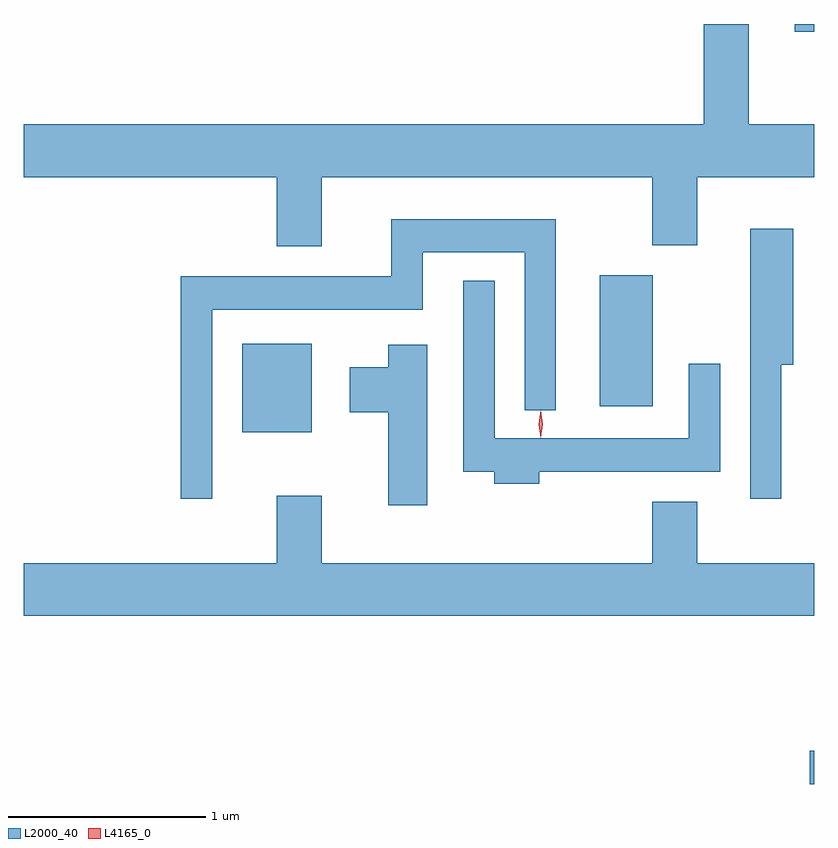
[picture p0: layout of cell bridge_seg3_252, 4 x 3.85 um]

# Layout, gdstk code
import gdstk
lib = gdstk.Library(unit=1e-6, precision=1e-09)
def R(c, l, rs):  # rectangles x0, y0, x1, y1
    for r in rs: c.add(gdstk.rectangle(r[:2], r[2:], *l))
def P(c, l, *ps):  # polygons
    for p in ps: c.add(gdstk.Polygon(p, *l))
L2000_40 = (2000, 40)
L4165_0 = (4165, 0)

bridge_seg3_252 = lib.new_cell('bridge_seg3_252')
R(bridge_seg3_252, L2000_40, [(933.008,1129.606,933.031,1129.774), (930.136,1131.386,930.489,1131.834), (931.946,1131.516,932.214,1132.179), (932.931,1133.411,933.031,1133.451)])
P(bridge_seg3_252, L2000_40, [(930.539,1132.676),(932.211,1132.676),(932.211,1132.331),(932.439,1132.331),(932.439,1132.676),(933.031,1132.676),(933.031,1132.944),(932.699,1132.944),(932.699,1133.451),(932.471,1133.451),(932.471,1132.944),(929.031,1132.944),(929.031,1132.676),(930.311,1132.676),(930.311,1132.326),(930.539,1132.326)],
  [(929.984,1132.006),(931.049,1132.006),(931.049,1132.296),(931.566,1132.296),(931.566,1131.498),(931.724,1131.498),(931.724,1132.464),(930.891,1132.464),(930.891,1132.174),(929.826,1132.174),(929.826,1131.048),(929.984,1131.048)],
  [(932.864,1131.726),(932.924,1131.726),(932.924,1132.414),(932.706,1132.414),(932.706,1131.048),(932.864,1131.048)],
  [(931.639,1131.186),(932.554,1131.186),(932.554,1131.733),(932.396,1131.733),(932.396,1131.354),(931.414,1131.354),(931.414,1132.153),(931.256,1132.153),(931.256,1131.186),(931.411,1131.186),(931.411,1131.126),(931.639,1131.126)],
  [(931.074,1131.829),(930.876,1131.829),(930.876,1131.714),(930.681,1131.714),(930.681,1131.486),(930.876,1131.486),(930.876,1131.016),(931.074,1131.016)],
  [(933.031,1130.724),(932.439,1130.724),(932.439,1131.034),(932.211,1131.034),(932.211,1130.724),(930.539,1130.724),(930.539,1131.064),(930.311,1131.064),(930.311,1130.724),(929.031,1130.724),(929.031,1130.456),(933.031,1130.456)])
P(bridge_seg3_252, L4165_0, [(931.647,1131.357),(931.647,1131.358),(931.637,1131.427),(931.647,1131.496),(931.647,1131.496),(931.648,1131.496),(931.657,1131.427),(931.648,1131.358)])

lib.write_gds('bridge_seg3_252.gds')
